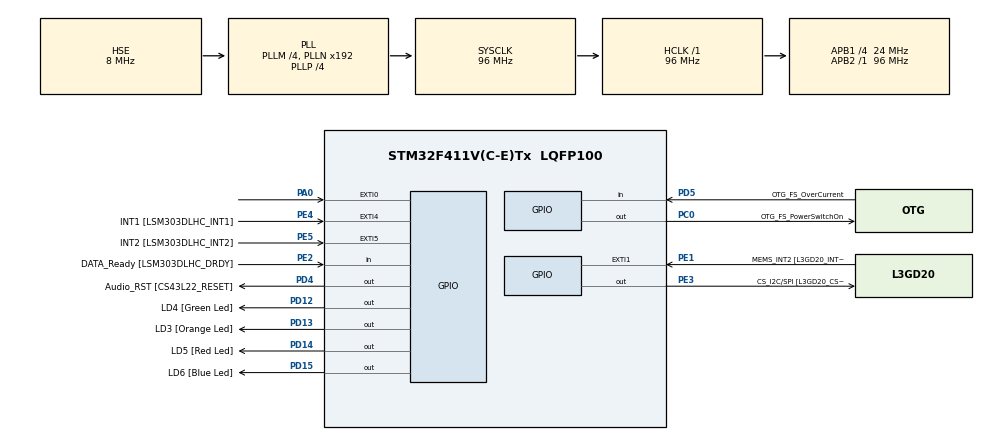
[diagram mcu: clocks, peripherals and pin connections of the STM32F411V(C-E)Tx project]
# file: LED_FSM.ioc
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Mcu.Family=STM32F4
Mcu.Name=STM32F411V(C-E)Tx
Mcu.Package=LQFP100
NVIC.EXTI0_IRQn=true\:0\:0\:false\:false\:true\:true\:true\:true
NVIC.PriorityGroup=NVIC_PRIORITYGROUP_0
NVIC.TIM3_IRQn=true\:0\:0\:false\:false\:true\:true\:true\:true
PA0-WKUP.GPIO_ModeDefaultEXTI=GPIO_MODE_IT_RISING
PA0-WKUP.Signal=GPXTI0
PA10.GPIO_Label=OTG_FS_ID
PA10.Signal=USB_OTG_FS_ID
PA11.GPIO_Label=OTG_FS_DM
PA11.Signal=USB_OTG_FS_DM
PA12.GPIO_Label=OTG_FS_DP
PA12.Signal=USB_OTG_FS_DP
PA13.GPIO_Label=SWDIO
PA13.Mode=Serial_Wire
PA13.Signal=SYS_JTMS-SWDIO
PA14.GPIO_Label=SWCLK
PA14.Mode=Serial_Wire
PA14.Signal=SYS_JTCK-SWCLK
PA4.GPIO_Label=I2S3_WS [CS43L22_LRCK]
PA4.GPIO_Mode=GPIO_MODE_AF_PP
PA4.GPIO_PuPd=GPIO_NOPULL
PA4.GPIO_Speed=GPIO_SPEED_FREQ_LOW
PA4.Signal=I2S3_WS
PA5.GPIO_Label=SPI1_SCK [L3GD20_SC/SPC]
PA5.Signal=SPI1_SCK
PA6.GPIO_Label=SPI1_MISO [L3GD20_AS0/SDO]
PA6.Signal=SPI1_MISO
PA7.GPIO_Label=SPI1_MOSI [L3GD20_SDA/SDI/SDO]
PA7.Signal=SPI1_MOSI
PA9.GPIO_Label=VBUS_FS
PA9.Signal=USB_OTG_FS_VBUS
PB10.GPIO_Label=CLK_IN [MP45DT02_CLK]
PB10.Signal=I2S2_CK
PB12.Signal=I2S2_WS
PB3.GPIO_Label=SWO
PB3.Signal=SYS_JTDO-SWO
PB6.GPIO_Label=Audio_SCL [CS43L22_SCL]
PB6.GPIO_Mode=GPIO_MODE_AF_OD
PB6.GPIO_Pu=GPIO_PULLUP
PB6.GPIO_PuPd=GPIO_NOPULL
PB6.GPIO_Speed=GPIO_SPEED_FREQ_LOW
PB6.Signal=I2C1_SCL
PB9.GPIO_Label=Audio_SDA [CS43L22_SDA]
PB9.GPIO_Mode=GPIO_MODE_AF_OD
PB9.GPIO_Pu=GPIO_PULLUP
PB9.GPIO_PuPd=GPIO_NOPULL
PB9.GPIO_Speed=GPIO_SPEED_FREQ_LOW
PB9.Signal=I2C1_SDA
PC0.GPIO_Label=OTG_FS_PowerSwitchOn
PC0.PinState=GPIO_PIN_SET
PC0.Signal=GPIO_Output
PC10.GPIO_Label=I2S3_SCK [CS43L22_SCLK]
PC10.GPIO_Mode=GPIO_MODE_AF_PP
PC10.GPIO_PuPd=GPIO_NOPULL
PC10.GPIO_Speed=GPIO_SPEED_FREQ_LOW
PC10.Signal=I2S3_CK
PC12.GPIO_Label=I2S3_SD [CS43L22_SDIN]
PC12.GPIO_Mode=GPIO_MODE_AF_PP
PC12.GPIO_PuPd=GPIO_NOPULL
PC12.GPIO_Speed=GPIO_SPEED_FREQ_LOW
PC12.Signal=I2S3_SD
PC14-OSC32_IN.GPIO_Label=PC14-OSC32_IN
PC14-OSC32_IN.Mode=LSE-External-Clock-Source
PC14-OSC32_IN.Signal=RCC_OSC32_IN
PC15-OSC32_OUT.GPIO_Label=PC15-OSC32_OUT
PC15-OSC32_OUT.Mode=LSE-External-Clock-Source
PC15-OSC32_OUT.Signal=RCC_OSC32_OUT
PC3.GPIO_Label=PDM_OUT [MP45DT02_DOUT]
PC3.Signal=I2S2_SD
PC7.GPIO_Label=I2S3_MCK [CS43L22_MCLK]
PC7.GPIO_Mode=GPIO_MODE_AF_PP
PC7.GPIO_PuPd=GPIO_NOPULL
PC7.GPIO_Speed=GPIO_SPEED_FREQ_LOW
PC7.Signal=I2S3_MCK
PD12.GPIO_Label=LD4 [Green Led]
PD12.GPIO_PuPd=GPIO_NOPULL
PD12.GPIO_Speed=GPIO_SPEED_FREQ_LOW
PD12.Signal=GPIO_Output
PD13.GPIO_Label=LD3 [Orange Led]
PD13.GPIO_PuPd=GPIO_NOPULL
PD13.GPIO_Speed=GPIO_SPEED_FREQ_LOW
PD13.Signal=GPIO_Output
PD14.GPIO_Label=LD5 [Red Led]
PD14.GPIO_PuPd=GPIO_NOPULL
PD14.GPIO_Speed=GPIO_SPEED_FREQ_LOW
PD14.Signal=GPIO_Output
PD15.GPIO_Label=LD6 [Blue Led]
PD15.GPIO_PuPd=GPIO_NOPULL
PD15.GPIO_Speed=GPIO_SPEED_FREQ_LOW
PD15.Signal=GPIO_Output
PD4.GPIO_Label=Audio_RST [CS43L22_RESET]
PD4.Signal=GPIO_Output
PD5.GPIO_Label=OTG_FS_OverCurrent
PD5.Signal=GPIO_Input
PE1.GPIO_Label=MEMS_INT2 [L3GD20_INT2]
PE1.GPIO_ModeDefaultEXTI=GPIO_MODE_EVT_RISING
PE1.Signal=GPXTI1
PE2.GPIO_Label=DATA_Ready [LSM303DLHC_DRDY]
PE2.Signal=GPIO_Input
PE3.GPIO_Label=CS_I2C/SPI [L3GD20_CS_I2C/SPI]
PE3.Signal=GPIO_Output
PE4.GPIO_Label=INT1 [LSM303DLHC_INT1]
PE4.GPIO_ModeDefaultEXTI=GPIO_MODE_EVT_RISING
PE4.Signal=GPXTI4
PE5.GPIO_Label=INT2 [LSM303DLHC_INT2]
PE5.GPIO_ModeDefaultEXTI=GPIO_MODE_EVT_RISING
PE5.Signal=GPXTI5
PH0\ -\ OSC_IN.GPIO_Label=PH0-OSC_IN
PH0\ -\ OSC_IN.Mode=HSE-External-Oscillator
PH0\ -\ OSC_IN.Signal=RCC_OSC_IN
PH1\ -\ OSC_OUT.GPIO_Label=PH1-OSC_OUT
PH1\ -\ OSC_OUT.Mode=HSE-External-Oscillator
PH1\ -\ OSC_OUT.Signal=RCC_OSC_OUT
ProjectManager.HeapSize=0x200
ProjectManager.StackSize=0x400
ProjectManager.TargetToolchain=STM32CubeIDE
RCC.48MHZClocksFreq_Value=48000000
RCC.AHBFreq_Value=96000000
RCC.APB1CLKDivider=RCC_HCLK_DIV4
RCC.APB1Freq_Value=24000000
RCC.APB1TimFreq_Value=48000000
RCC.APB2Freq_Value=96000000
RCC.APB2TimFreq_Value=96000000
RCC.CortexFreq_Value=96000000
RCC.HCLKFreq_Value=96000000
RCC.HSE_VALUE=8000000
RCC.HSI_VALUE=16000000
RCC.LSE_VALUE=32768
RCC.PLLI2SM=5
RCC.PLLI2SN=200
RCC.PLLM=4
RCC.PLLP=RCC_PLLP_DIV4
RCC.PLLQ=8
RCC.PLLSourceVirtual=RCC_PLLSOURCE_HSE
RCC.SYSCLKFreq_VALUE=96000000
RCC.SYSCLKSource=RCC_SYSCLKSOURCE_PLLCLK
RCC.VCOOutputFreq_Value=384000000
TIM3.Period=9999
TIM3.Prescaler=4799
VP_TIM3_VS_ClockSourceINT.Mode=Internal
board=STM32F411E-DISCO

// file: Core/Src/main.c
/* USER CODE BEGIN Header */
/**
  ******************************************************************************
  * @file           : main.c
  * @brief          : Main program body
  ******************************************************************************
  * @attention
  *
  * Copyright (c) 2022 STMicroelectronics.
  * All rights reserved.
  *
  * This software is licensed under terms that can be found in the LICENSE file
  * in the root directory of this software component.
  * If no LICENSE file comes with this software, it is provided AS-IS.
  *
  ******************************************************************************
  */
/* USER CODE END Header */
#include "main.h"
#include "tim.h"
#include "gpio.h"

/* USER CODE BEGIN Includes */
#include "fsm.h"
/* USER CODE END Includes */

/* USER CODE BEGIN PV */
uint32_t boton=0;
uint32_t segundo=0;
/* USER CODE END PV */

void SystemClock_Config(void);
/* USER CODE BEGIN PFP */
static int button_pressed (fsm_t* this);
static void start_count_led (fsm_t* this);
static int cuenta_segundo (fsm_t* this);
static void led_azul (fsm_t* this);
static void fin_parpadeo (fsm_t* this);
void HAL_GPIO_EXTI_Callback(uint16_t GPIO_Pin);
void HAL_TIM_PeriodElapsedCallback(TIM_HandleTypeDef* htim);

/* USER CODE END PFP */

/* USER CODE BEGIN 0 */
enum parpadeo_led {
  OFF,
  LED_AZUL,
};

static int button_pressed (fsm_t* this)
{
	if (boton==1){
			boton=0;
			return 1;
		}
		else {
			return 0;
		}
}

void HAL_GPIO_EXTI_Callback(uint16_t GPIO_Pin)
{
	if(GPIO_Pin==GPIO_PIN_0){
		boton=1;
	}
}

static void start_count_led (fsm_t* this)
{
	HAL_TIM_Base_Start_IT(&htim3);
}

void HAL_TIM_PeriodElapsedCallback(TIM_HandleTypeDef* htim)
{
	if(htim->Instance==TIM3){
		segundo=1;
	}
}

static int cuenta_segundo (fsm_t* this)
{
	if (segundo==1){
		segundo=0;
		return 1;
	}
	else {
		return 0;
	}
}

static void led_azul (fsm_t* this)
{
	HAL_GPIO_TogglePin(GPIOD,LD6_Pin); //Led azul
}

static void fin_parpadeo (fsm_t* this)
{
  HAL_TIM_Base_Stop_IT(&htim3);
  HAL_GPIO_WritePin(GPIOD,LD6_Pin,0); //Led azul off
}
// Explicit FSM description

static fsm_trans_t parpadeo_led[] = {
  { OFF,	 	button_pressed,			LED_AZUL,  	start_count_led  },
  { LED_AZUL, 	cuenta_segundo,			LED_AZUL,  	led_azul  	 	 },
  { LED_AZUL, 	button_pressed,			OFF,	  	fin_parpadeo 	 },
  {-1, NULL, -1, NULL },
  };

/* USER CODE END 0 */

int main(void)
{

  /* MCU Configuration--------------------------------------------------------*/

  /* Reset of all peripherals, Initializes the Flash interface and the Systick. */
  HAL_Init();

  /* Configure the system clock */
  SystemClock_Config();

  /* Initialize all configured peripherals */
  MX_GPIO_Init();
  MX_TIM3_Init();
  /* USER CODE BEGIN 2 */
  fsm_t* parpadeo_fsm = fsm_new (parpadeo_led);
  /* USER CODE END 2 */

  /* Infinite loop */
  /* USER CODE BEGIN WHILE */
  while (1)
  {
	   fsm_fire (parpadeo_fsm);
    /* USER CODE END WHILE */

  }
}

void SystemClock_Config(void)
{
  RCC_OscInitTypeDef RCC_OscInitStruct = {0};
  RCC_ClkInitTypeDef RCC_ClkInitStruct = {0};

  /** Configure the main internal regulator output voltage
  */
  __HAL_RCC_PWR_CLK_ENABLE();
  __HAL_PWR_VOLTAGESCALING_CONFIG(PWR_REGULATOR_VOLTAGE_SCALE1);

  /** Initializes the RCC Oscillators according to the specified parameters
  * in the RCC_OscInitTypeDef structure.
  */
  RCC_OscInitStruct.OscillatorType = RCC_OSCILLATORTYPE_HSE;
  RCC_OscInitStruct.HSEState = RCC_HSE_ON;
  RCC_OscInitStruct.PLL.PLLState = RCC_PLL_ON;
  RCC_OscInitStruct.PLL.PLLSource = RCC_PLLSOURCE_HSE;
  RCC_OscInitStruct.PLL.PLLM = 4;
  RCC_OscInitStruct.PLL.PLLN = 192;
  RCC_OscInitStruct.PLL.PLLP = RCC_PLLP_DIV4;
  RCC_OscInitStruct.PLL.PLLQ = 8;
  if (HAL_RCC_OscConfig(&RCC_OscInitStruct) != HAL_OK)
  {
    Error_Handler();
  }

  /** Initializes the CPU, AHB and APB buses clocks
  */
  RCC_ClkInitStruct.ClockType = RCC_CLOCKTYPE_HCLK|RCC_CLOCKTYPE_SYSCLK
                              |RCC_CLOCKTYPE_PCLK1|RCC_CLOCKTYPE_PCLK2;
  RCC_ClkInitStruct.SYSCLKSource = RCC_SYSCLKSOURCE_PLLCLK;
  RCC_ClkInitStruct.AHBCLKDivider = RCC_SYSCLK_DIV1;
  RCC_ClkInitStruct.APB1CLKDivider = RCC_HCLK_DIV4;
  RCC_ClkInitStruct.APB2CLKDivider = RCC_HCLK_DIV1;

  if (HAL_RCC_ClockConfig(&RCC_ClkInitStruct, FLASH_LATENCY_3) != HAL_OK)
  {
    Error_Handler();
  }
}

void Error_Handler(void)
{
  __disable_irq();
  while (1)
  {
  }
}
